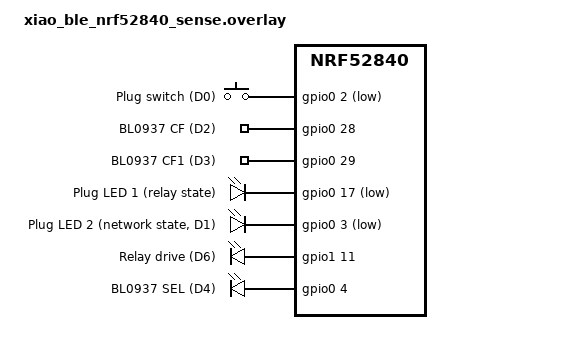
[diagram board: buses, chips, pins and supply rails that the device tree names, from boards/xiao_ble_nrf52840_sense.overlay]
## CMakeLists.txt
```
#
# Matter smart plug for the Seeed XIAO nRF52840 Sense.
# Retrofit into a BL0937 mains plug; see docs/README.md.
#

cmake_minimum_required(VERSION 3.20.0)

find_package(Zephyr HINTS $ENV{ZEPHYR_BASE})

project(uascent_matter_plug)

# Enable GNU STD support.
include(${ZEPHYR_CONNECTEDHOMEIP_MODULE_DIR}/config/nrfconnect/app/enable-gnu-std.cmake)

# NORDIC SDK APP START

# Include all source files that are located in the Matter common directory.
include(${ZEPHYR_NRF_MODULE_DIR}/samples/matter/common/cmake/source_common.cmake)

# Include Data Model utils
include(${ZEPHYR_NRF_MODULE_DIR}/samples/matter/common/cmake/data_model.cmake)

include(${ZEPHYR_NRF_MODULE_DIR}/samples/matter/common/cmake/zap_helpers.cmake)
ncs_get_zap_parent_dir(ZAP_PARENT_DIR)

target_include_directories(app PRIVATE
  src
  ${ZAP_PARENT_DIR}
)

target_compile_options(app PRIVATE -Wno-deprecated-declarations)

target_sources(app PRIVATE
  src/app_task.cpp
  src/bl0937.cpp
  src/main.cpp
  src/power_measurement.cpp
  src/relay.cpp
  src/status_led.cpp
  src/zcl_callbacks.cpp
)

ncs_configure_data_model()
# NORDIC SDK APP END
```

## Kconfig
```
#
# Copyright (c) 2022 Nordic Semiconductor
#
# SPDX-License-Identifier: LicenseRef-Nordic-5-Clause
#
mainmenu "Matter nRF Connect Light Switch Example Application"

config STATE_LEDS
	bool "Use LEDs to indicate the device state"
	default y
	help
	  Use LEDs to render the current state of the device such as the progress of commissioning of
	  the device into a network or the factory reset initiation. Note that setting this option to
	  'n' does not disable the LED indicating the state of the simulated bolt.

config APP_OVERPOWER_PROTECTION
	bool "Open the relay on sustained over-power"
	default y
	help
	  Opens the relay when measured active power stays above
	  APP_OVERPOWER_THRESHOLD_MW for several consecutive samples. The stock
	  Uascent firmware did the same (see docs/original-firmware.md); it is the
	  one protective behaviour that has to be local, since waiting for a
	  controller to notice an overload is the wrong architecture.

	  The trip is only as trustworthy as the BL0937 calibration behind it, so
	  confirm readings against a reference meter before relying on this.

config APP_OVERPOWER_THRESHOLD_MW
	int "Over-power trip threshold (mW)"
	depends on APP_OVERPOWER_PROTECTION
	default 2400000
	help
	  Active power above which the relay opens, in milliwatts.

	  SET THIS TO MATCH YOUR PLUG. The default of 2400 W suits a 10 A/230 V
	  plug; a 16 A plug wants roughly 3700 W, and leaving it at 2400 W there
	  would trip on a legitimate 3 kW load. The donor board carries no legible
	  current rating, so take the figure from the plug housing.

	  A trip needs APP_OVERPOWER_SAMPLES consecutive breaches, so brief
	  inrush cannot reach it and the threshold can sit close to the rating.

config APP_OVERPOWER_SAMPLES
	int "Consecutive over-threshold samples before tripping"
	depends on APP_OVERPOWER_PROTECTION
	default 5
	help
	  Samples are taken once per second. The stock firmware required more
	  than four, i.e. five, which is long enough that motor and power-supply
	  inrush cannot nuisance-trip while still reacting quickly to a real
	  fault.

# Sample configuration used for Thread networking
if OPENTHREAD

choice OPENTHREAD_NORDIC_LIBRARY_CONFIGURATION
	default OPENTHREAD_NORDIC_LIBRARY_MTD
endchoice

choice OPENTHREAD_DEVICE_TYPE
	default OPENTHREAD_MTD
endchoice

config CHIP_ENABLE_ICD_SUPPORT
	default y

# Reduce Thread TX output power to 0 dBm for SED device
config OPENTHREAD_DEFAULT_TX_POWER
	default 0

endif # OPENTHREAD

if SHIELD_NRF7002EB2

config CHIP_WIFI
	default y

config NRF_WIFI_LOW_POWER
	default y

endif # SHIELD_NRF7002EB2

# Enable Read Client functionality for all build configurations.
config CHIP_ENABLE_READ_CLIENT
	default y

source "$(ZEPHYR_CONNECTEDHOMEIP_MODULE_DIR)/config/nrfconnect/chip-module/Kconfig.features"
source "$(ZEPHYR_CONNECTEDHOMEIP_MODULE_DIR)/config/nrfconnect/chip-module/Kconfig.defaults"
source "$(ZEPHYR_NRF_MODULE_DIR)/samples/matter/common/src/Kconfig"
source "Kconfig.zephyr"
```

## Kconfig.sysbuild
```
#
# Copyright (c) 2023 Nordic Semiconductor ASA
#
# SPDX-License-Identifier: LicenseRef-Nordic-5-Clause
#

#### Radio core selection
config NRF_DEFAULT_IPC_RADIO
	default y

# Enable IEEE802.15.4 serialization to network core
# This config automatically pulls in the `overlay-802154.conf` in the ipc_radio image
config NETCORE_IPC_RADIO_IEEE802154
	default y if SOC_SERIES_NRF53 && !WIFI_NRF70

# Enable Bluetooth serialization to network core
# This config automatically pulls in the `overlay-bt_hci_ipc.conf` in the ipc_radio image
config NETCORE_IPC_RADIO_BT_HCI_IPC
	default y if SOC_SERIES_NRF53

#### Bootloader
# The XIAO ships the Adafruit UF2 bootloader, whose flash map defines no
# slot0_partition, so MCUboot cannot be built for this board.
choice BOOTLOADER
	default BOOTLOADER_NONE if BOARD_XIAO_BLE
	default BOOTLOADER_MCUBOOT if !BOARD_NRF21540DK
endchoice

if BOOTLOADER_MCUBOOT

#### DFU multi-image support
config DFU_MULTI_IMAGE_PACKAGE_BUILD
	default y

config DFU_MULTI_IMAGE_PACKAGE_APP
	default y

config PM_EXTERNAL_FLASH_MCUBOOT_SECONDARY
	default y

#### DFU network core configuration
if SOC_SERIES_NRF53

choice MCUBOOT_MODE
	default MCUBOOT_MODE_OVERWRITE_ONLY
endchoice

choice BOOT_SIGNATURE_TYPE
	default BOOT_SIGNATURE_TYPE_RSA
endchoice

config SECURE_BOOT_NETCORE
	default y

config NETCORE_APP_UPDATE
	default y

config DFU_MULTI_IMAGE_PACKAGE_NET
	default y

endif # SOC_SERIES_NRF53

if BOARD_NRF54L15DK || BOARD_NRF54LM20DK

# Disable checking the external drivers for nRF54L15 and nRF54LM20 DKs.
config PM_OVERRIDE_EXTERNAL_DRIVER_CHECK
	default y

endif # BOARD_NRF54L15DK || BOARD_NRF54LM20DK

endif # BOOTLOADER_MCUBOOT

#### Enable generating factory data
# No factory data partition in the XIAO UF2 flash map; the onboarding
# credentials come from Kconfig instead (see prj.conf).
config MATTER_FACTORY_DATA_GENERATE
	default n if BOARD_XIAO_BLE
	default y if !BOARD_NRF21540DK

source "share/sysbuild/Kconfig"
```

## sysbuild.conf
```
SB_CONFIG_MATTER=y

# Sysbuild force-writes CONFIG_CHIP_OTA_REQUESTOR into the application config
# (nrf/sysbuild/CMakeLists.txt), and that write lands after prj.conf and the
# application Kconfig, so it can only be turned off from here. The OTA
# requestor needs the MCUboot slot0_partition this board's UF2 flash map does
# not define.
SB_CONFIG_MATTER_OTA=n
SB_CONFIG_PARTITION_MANAGER=n

# The XIAO ships the Adafruit UF2 bootloader and its flash map has no MCUboot
# slot0_partition, so MCUboot cannot be built for this board.
SB_CONFIG_BOOTLOADER_NONE=y
```

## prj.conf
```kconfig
# ---------------------------------------------------------------------------
# Matter smart plug for the XIAO nRF52840 Sense, retrofitted into a BL0937
# mains plug in place of its original BK7231N module. See docs/README.md.
#
# Started from the NCS samples/matter/light_switch sample, so the deltas from
# that sample are the board constraints (no MCUboot, no factory data), the
# fixed onboarding credentials below, and the plug data model.
# ---------------------------------------------------------------------------

# Enable CHIP
CONFIG_CHIP=y
CONFIG_CHIP_PROJECT_CONFIG="src/chip_project_config.h"
CONFIG_CHIP_DEVICE_PRODUCT_NAME="XIAO Smart Plug"

# Configure ZAP file name
CONFIG_NCS_SAMPLE_MATTER_ZAP_FILE_PATH="${APPLICATION_CONFIG_DIR}/src/default_zap/smart_plug.zap"

# 32772 == 0x8004 (example light-switch-app)
CONFIG_CHIP_DEVICE_PRODUCT_ID=32772
CONFIG_STD_CPP17=y

# Enable Matter pairing automatically on application start.
CONFIG_CHIP_ENABLE_PAIRING_AUTOSTART=y

# Enable Matter extended announcement and increase duration to 1 hour.
CONFIG_CHIP_BLE_EXT_ADVERTISING=y
CONFIG_CHIP_BLE_ADVERTISING_DURATION=60

# --- Fixed onboarding credentials -------------------------------------------
# Per-hardware-variant: passcode/discriminator and BT device name live in
# boards/xiao_ble.conf (and boards/xiao_ble_<variant>.conf for other variants)
# instead of here, since those are the two things that must differ between
# otherwise-identical boards so two units aren't ambiguous during
# commissioning. See boards/xiao_ble.conf for the values and rationale, and
# CLAUDE.md / docs/smart-plug-plan.md for how to add another variant.

# LEDs and buttons: the XIAO has an RGB LED and no on-board user button, so
# the DK library drives the devicetree nodes from boards/*.overlay.
CONFIG_DK_LIBRARY=y
CONFIG_GPIO=y

# Suspend devices when the CPU goes into sleep
CONFIG_PM_DEVICE=y

# Other settings
CONFIG_THREAD_NAME=y
CONFIG_MPU_STACK_GUARD=y
CONFIG_RESET_ON_FATAL_ERROR=n
# The light_switch sample enables the Matter shell, but that assumes a UART
# separate from the log backend. This board has a single USB CDC-ACM console,
# so the shell prompt races the log output and corrupts both. Left off.
CONFIG_CHIP_LIB_SHELL=n
CONFIG_NCS_SAMPLE_MATTER_TEST_SHELL=n

# Reduce application size
CONFIG_USE_SEGGER_RTT=n

# --- Console ---------------------------------------------------------------
# The board devicetree already routes the console to USB CDC-ACM using the
# usb_device_next stack, so no USB Kconfig belongs here. Enabling the legacy
# USB_DEVICE_STACK on top of it yields duplicate cdc_acm symbols at link time.
CONFIG_LOG=y
CONFIG_CONSOLE=y
CONFIG_SERIAL=y
CONFIG_UART_LINE_CTRL=y
CONFIG_USB_DEVICE_INITIALIZE_AT_BOOT=n
# LOG_MODE_MINIMAL (the default here) drops messages instead of buffering
# them, which truncated the onboarding-code block during the boot burst.
CONFIG_LOG_MODE_DEFERRED=y
CONFIG_LOG_PROCESS_THREAD_STACK_SIZE=2048
# The UART backend writes with uart_poll_out(), which busy-waits when the
# CDC-ACM endpoint is full and no host is draining it. Logging before the host
# has the port open therefore stalls the log thread mid-message rather than
# just queueing, and LOG_BLOCK_IN_THREAD_TIMEOUT_MS then drops everything
# behind it -- which is what ate the onboarding-code block. Hold output back
# until enumeration is done, and size the buffer to hold the whole Matter boot
# burst (~70 ms of dense output) plus meter traffic until then.
CONFIG_LOG_PROCESS_THREAD_STARTUP_DELAY_MS=4000
CONFIG_LOG_BUFFER_SIZE=16384
# Block the emitting thread instead of dropping messages if the buffer ever
# does fill, so the log stays complete rather than losing the oldest lines.
# The default 1 s give-up turns a slow console into silent data loss. Raise it
# so a stalled console delays the log rather than truncating it, but keep it
# finite: uart_poll_out() busy-waits on a console nobody is draining, and
# forever-blocking (-1) would hang boot on a plug running headless on mains.
CONFIG_LOG_BLOCK_IN_THREAD=y
CONFIG_LOG_BLOCK_IN_THREAD_TIMEOUT_MS=10000
# The UART backend defaults to a 1-byte buffer, so it hands the console a
# character at a time. Once the log buffer above let the whole boot burst
# through at once, that outpaced the CDC-ACM endpoint and lines were spliced
# into each other mid-character. Buffer whole messages instead.
CONFIG_LOG_BACKEND_UART_BUFFER_SIZE=256

# --- Board constraints -----------------------------------------------------
# No factory data partition in the UF2 flash map. CHIP_FACTORY_DATA is reached
# through a choice, so it is disabled by selecting the NONE branch rather than
# by assigning it =n.
CONFIG_CHIP_FACTORY_DATA_NONE=y

# No MCUboot: the Adafruit UF2 bootloader owns the flash map and defines no
# slot0_partition, so the DFU/image-manager stack cannot be built.
#
# CHIP_BOOTLOADER is a choice whose MCUBOOT branch hard-"select"s IMG_MANAGER,
# and a select cannot be overridden by assigning =n, so the NONE branch is
# picked instead -- the same pattern as CHIP_FACTORY_DATA_NONE above.
# CHIP_OTA_REQUESTOR itself is not set here: sysbuild force-writes it after
# this file is merged, so it is disabled via SB_CONFIG_MATTER_OTA=n in
# sysbuild.conf instead.
CONFIG_CHIP_BOOTLOADER_NONE=y

# Nothing selects these once the MCUboot branch is deselected, so they can be
# switched off directly. This keeps flash_img.c (which resolves
# slot0_partition at compile time) out of the build.
CONFIG_IMG_MANAGER=n
CONFIG_MCUBOOT_IMG_MANAGER=n
CONFIG_DFU_TARGET=n
CONFIG_DFU_MULTI_IMAGE=n
CONFIG_STREAM_FLASH=n

# NFC onboarding is not wired up on this board.
CONFIG_CHIP_NFC_ONBOARDING_PAYLOAD=n

# Keep the image inside the 0xC5000 app partition.
CONFIG_LTO=y
CONFIG_ISR_TABLES_LOCAL_DECLARATION=y
```

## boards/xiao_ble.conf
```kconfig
# Board Kconfig fragment for the default unit. Zephyr merges
# boards/<BOARD>.conf on top of prj.conf automatically; with
# -DFILE_SUFFIX=<variant>, boards/<BOARD>_<variant>.conf is used instead (see
# boards/xiao_ble_v2.conf for a second unit, and CLAUDE.md for how to add
# another one).
#
# This file holds exactly the settings that must differ between two
# otherwise-identical units built from the same source: the onboarding
# credentials and the BLE device name. GPIO wiring is NOT part of this split
# -- every unit is hand-soldered, so boards/xiao_ble.overlay's pin assignment
# is shared by all of them regardless of which physical pads a given plug's
# own PCB happens to route each signal to. Everything else common to all
# units stays in prj.conf.

# --- Fixed onboarding credentials ------------------------------------------
# Compiled into the image so the pairing code is fixed and known in advance
# rather than being read off the serial console. Factory data is disabled on
# this board, so these Kconfig values are what the stack actually uses.
#   passcode 20202021 + discriminator 0xF00 (manual pairing code 3497-011-2332)
# These are the Matter test defaults; change both for anything non-throwaway.
# The firmware prints the authoritative pairing code and QR payload at boot.
CONFIG_CHIP_DEVICE_DISCRIMINATOR=0xF00
CONFIG_CHIP_DEVICE_SPAKE2_PASSCODE=20202021

# Bluetooth Low Energy configuration
CONFIG_BT_DEVICE_NAME="XIAOPlug"
```

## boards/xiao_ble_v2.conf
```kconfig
# Board Kconfig fragment for a second physical unit ("v2"): same xiao_ble
# target, same GPIO wiring (boards/xiao_ble.overlay -- the retrofit is
# hand-soldered per unit, so the physical wires just land on whatever XIAO
# pins that overlay already assigns; see CLAUDE.md, "Hardware variants"), but
# a different pairing code so this unit can't be confused with a
# default-variant one during commissioning. Build with:
#
#   west build -b xiao_ble -- -DFILE_SUFFIX=v2
#
# See boards/xiao_ble.conf for what this replaces and why this is the only
# thing that differs per variant.

# --- Fixed onboarding credentials ------------------------------------------
# Same passcode as the default variant but a different discriminator, which
# is the standard Matter SDK convention for distinguishing otherwise-
# identical test devices during commissioning (the discriminator alone
# selects which device responds). Change both for anything non-throwaway.
# The firmware prints the authoritative pairing code and QR payload at boot.
CONFIG_CHIP_DEVICE_DISCRIMINATOR=0xF01
CONFIG_CHIP_DEVICE_SPAKE2_PASSCODE=20202021

# Bluetooth Low Energy configuration
CONFIG_BT_DEVICE_NAME="XIAOPlugV2"
```

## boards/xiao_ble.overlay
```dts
/*
 * Board wiring for the BL0937 mains-plug retrofit. See docs/smart-plug-plan.md
 * for the full design.
 *
 * The plug's 11-pad header was traced by continuity probing
 * (docs/original-pcb-trace.md) and then cross-checked against the
 * disassembled stock firmware (docs/original-firmware.md), which is treated
 * as authoritative where the two disagree. Note either source fixes which
 * *header pad* carries each signal, not which XIAO pin it lands on: the XIAO
 * is wired to that header by hand, so the pin choices below are ours to make,
 * and are chosen for XIAO-side capability (ADC availability, edge-connector
 * access).
 *
 * Board target: xiao_ble (plain, no IMU/microphone) -- confirmed by physical
 * inspection, no LSM6DSL/microphone package on the board. The plain and
 * Sense variants share the same D0-D10 connector pinout
 * (seeed_xiao_connector.dtsi is common to both); Sense only adds the IMU/mic
 * devicetree nodes and enables I2C0 for them, which is why no
 * IMU-disable node is needed here.
 *
 * Pad budget, derived from docs/pinout.md (Seeed's XIAO nRF52840 reference)
 * and cross-checked against
 * zephyr/boards/seeed/xiao_ble/seeed_xiao_connector.dtsi:
 *
 *   XIAO pin      Header pad        Signal
 *   ------------  ----------------  ---------------------------------------
 *   D0 / P0.02    H5  (RX1)         plug tactile switch (short = toggle
 *                                   relay, long = factory reset; handled by
 *                                   the Matter common board layer's function
 *                                   button, see
 *                                   samples/matter/common/src/board/board.cpp)
 *   D1 / P0.03    H4  (P7)          plug LED 2 (network/commissioning state)
 *   D2 / P0.28    H9  (P24)         BL0937 CF  (active-power pulse),
 *                                   ADC-capable pad kept in reserve in case
 *                                   pulse counting needs an analog fallback
 *   D3 / P0.29    H11 (P26)         BL0937 CF1 (V/I pulse, muxed by SEL),
 *                                   same ADC reasoning
 *   D4 / P0.04    H6  (P8)          BL0937 SEL (V/I select output)
 *   D5 / P0.05    H2  (P6)          relay drive
 *
 * Power: the plug's H1 (3.3V) and H3 (GND) tie to the XIAO's 3.3V-OUT and
 * GND pads. H7 (TX1) is a no-connect on the host board. H8 (ADC) and H10
 * (CEN) are both unused: probing could not reach them, and the stock
 * firmware never drives them.
 *
 * Only ONE plug LED is software-driven. The board carries two, but the stock
 * firmware only ever drives H4 (P7) as an LED -- its second LED output is
 * module pin P9, which the UAM023 does not bring out to the header at all.
 * The reconciliation is that the LED probing found on H2 sits on the relay
 * drive net itself, so it follows the relay in hardware and needs no GPIO of
 * its own. That is also why probing read H2 as "LED 1" while the firmware
 * drives it as the relay: both are on that net. Driving H2 therefore gets
 * relay-state indication for free.
 *
 * So LED 2 (D1) mirrors network/commissioning state and is the only plug LED
 * this firmware writes. Its polarity is assumed active-low, matching the
 * on-board RGB LED (xiao_ble_common.dtsi); confirm independently.
 *
 * All six signals sit on the edge connector, so every joint is solderable
 * and inspectable. An earlier revision put LED 1 on P0.17 (the module's
 * internal CHARGE_LED pin) to save a connector pad; with only seven signals
 * against eleven pads there is no pad pressure, so that underside solder
 * joint was not worth its cost. D6-D10 remain free as spares.
 *
 * All GPIO producer/consumer nodes below reuse Zephyr's "gpio-leds" /
 * "gpio-keys" bindings even where the node is not literally an LED or a key
 * (SEL is an output that is neither; CF/CF1 are pulse inputs, not buttons).
 * That is deliberate, not cosmetic: only a node with a *binding* gets its
 * "gpios" property expanded by the devicetree generator into the .port/.pin
 * fields GPIO_DT_SPEC_GET() needs -- a bare node with no "compatible" does
 * not, and fails to build. gpio-leds/gpio-keys are simply the two bindings
 * Zephyr ships whose child schema is "one gpios property, nothing else",
 * which is all any of these signals needs; no LED or button driver actually
 * attaches to bl0937_sel/cf/cf1 or relay_drive, they're read/driven with
 * plain GPIO calls the same way src/status_led.cpp and src/relay.cpp already
 * do for led0-led4.
 */

/ {
	buttons {
		compatible = "gpio-keys";

		button0: button_0 {
			gpios = <&gpio0 2 (GPIO_PULL_UP | GPIO_ACTIVE_LOW)>;
			label = "Plug switch (D0 <- H5)";
		};
	};

	bl0937_pulses: bl0937_pulses {
		compatible = "gpio-keys";

		bl0937_cf: bl0937_cf {
			gpios = <&gpio0 28 GPIO_ACTIVE_HIGH>;
			label = "BL0937 CF (D2)";
		};

		bl0937_cf1: bl0937_cf1 {
			gpios = <&gpio0 29 GPIO_ACTIVE_HIGH>;
			label = "BL0937 CF1 (D3)";
		};
	};

	aliases {
		sw0 = &button0;
		led4 = &plug_led_network;
	};

	leds {
		compatible = "gpio-leds";

		plug_led_network: plug_led_network {
			gpios = <&gpio0 3 GPIO_ACTIVE_LOW>;
			label = "Plug LED 2 (network state, D1)";
		};

		relay_drive: relay_drive {
			gpios = <&gpio0 5 GPIO_ACTIVE_HIGH>;
			label = "Relay drive (D5 -> H2/P6)";
		};

		bl0937_sel: bl0937_sel {
			gpios = <&gpio0 4 GPIO_ACTIVE_HIGH>;
			label = "BL0937 SEL (D4)";
		};
	};
};
```

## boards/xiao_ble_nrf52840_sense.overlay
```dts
/*
 * Board wiring for the BL0937 mains-plug retrofit. See docs/smart-plug-plan.md
 * for the full design; pin choices here are PROVISIONAL until the plug's PCB
 * is traced (docs/plug-pinout.md) -- only this file should need to change
 * once that trace confirms or corrects the assignment.
 *
 * Pad budget, derived from docs/pinout.md (Seeed's XIAO nRF52840 Sense
 * reference) and cross-checked against
 * zephyr/boards/seeed/xiao_ble/seeed_xiao_connector.dtsi:
 *
 *   D0 / P0.02  - plug tactile switch (short = toggle relay, long = factory
 *                 reset; handled by the Matter common board layer's function
 *                 button, see samples/matter/common/src/board/board.cpp)
 *   D1 / P0.03  - plug LED 2 (network/commissioning state indicator)
 *   D2 / P0.28  - BL0937 CF  (active-power pulse), ADC-capable pad kept in
 *                 reserve in case pulse counting needs an analog fallback
 *   D3 / P0.29  - BL0937 CF1 (V/I pulse, muxed by SEL), same ADC reasoning
 *   D4 / P0.04  - BL0937 SEL (V/I select output)
 *   D6 / P1.11  - relay drive (digital-only pad; the relay needs no ADC)
 *   P0.17       - plug LED 1 (relay state indicator). This pin is wired on
 *                 the XIAO module as CHARGE_LED but is NOT declared in the
 *                 board devicetree and NOT on the edge connector -- it
 *                 drives the module's own (unpopulated-in-this-design)
 *                 battery charge LED and is otherwise idle on a mains plug
 *                 with no battery. Reusing it here frees a connector pad.
 *
 * The plug has two LEDs, not one -- see docs/original-pcb-trace.md. LED 1
 * (P0.17) mirrors relay state; LED 2 (D1) mirrors network/commissioning
 * state. Splitting the two facts across separate LEDs avoids a precedence
 * conflict on a single shared LED. See "Indication design" in
 * docs/smart-plug-plan.md.
 *
 * Both LEDs' polarity is assumed active-low, matching the on-board RGB LED
 * (xiao_ble_common.dtsi); confirm independently during tracing -- they may
 * not share polarity.
 *
 * D5/D7-D10 are deliberately left unused as spares (D4/D5 are the I2C
 * pair, D6/D7 the UART pair -- avoided for a possible future sensor).
 *
 * All GPIO producer/consumer nodes below reuse Zephyr's "gpio-leds" /
 * "gpio-keys" bindings even where the node is not literally an LED or a key
 * (SEL is an output that is neither; CF/CF1 are pulse inputs, not buttons).
 * That is deliberate, not cosmetic: only a node with a *binding* gets its
 * "gpios" property expanded by the devicetree generator into the .port/.pin
 * fields GPIO_DT_SPEC_GET() needs -- a bare node with no "compatible" does
 * not, and fails to build. gpio-leds/gpio-keys are simply the two bindings
 * Zephyr ships whose child schema is "one gpios property, nothing else",
 * which is all any of these signals needs; no LED or button driver actually
 * attaches to bl0937_sel/cf/cf1 or relay_drive, they're read/driven with
 * plain GPIO calls the same way src/status_led.cpp and src/relay.cpp already
 * do for led0-led4.
 */

/* The Sense variant's on-board LSM6DSL IMU is wired on I2C0, which this
 * design doesn't use (see the D4/D5 note above) and nothing in the app
 * touches the sensor subsystem. Disabling it drops "LSM6DSL: Failed to
 * initialize chip" from every boot log and pulls CONFIG_SENSOR/LSM6DSL back
 * out of the build. */
&lsm6ds3tr_c {
	status = "disabled";
};

/ {
	buttons {
		compatible = "gpio-keys";

		button0: button_0 {
			gpios = <&gpio0 2 (GPIO_PULL_UP | GPIO_ACTIVE_LOW)>;
			label = "Plug switch (D0)";
		};
	};

	bl0937_pulses: bl0937_pulses {
		compatible = "gpio-keys";

		bl0937_cf: bl0937_cf {
			gpios = <&gpio0 28 GPIO_ACTIVE_HIGH>;
			label = "BL0937 CF (D2)";
		};

		bl0937_cf1: bl0937_cf1 {
			gpios = <&gpio0 29 GPIO_ACTIVE_HIGH>;
			label = "BL0937 CF1 (D3)";
		};
	};

	aliases {
		sw0 = &button0;
		led3 = &plug_led_relay;
		led4 = &plug_led_network;
	};

	leds {
		compatible = "gpio-leds";

		plug_led_relay: plug_led_relay {
			gpios = <&gpio0 17 GPIO_ACTIVE_LOW>;
			label = "Plug LED 1 (relay state)";
		};

		plug_led_network: plug_led_network {
			gpios = <&gpio0 3 GPIO_ACTIVE_LOW>;
			label = "Plug LED 2 (network state, D1)";
		};

		relay_drive: relay_drive {
			gpios = <&gpio1 11 GPIO_ACTIVE_HIGH>;
			label = "Relay drive (D6)";
		};

		bl0937_sel: bl0937_sel {
			gpios = <&gpio0 4 GPIO_ACTIVE_HIGH>;
			label = "BL0937 SEL (D4)";
		};
	};
};
```

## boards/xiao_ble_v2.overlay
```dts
/*
 * Board wiring for hardware variant "v2" -- same xiao_ble target and BL0937
 * retrofit as boards/xiao_ble.overlay, but for a plug whose header traces to
 * different XIAO pins. See boards/xiao_ble.overlay for the full rationale
 * behind using gpio-leds/gpio-keys bindings for non-LED/non-button signals,
 * the pad budget, and the power/no-connect notes -- none of that is repeated
 * here.
 *
 * TODO: this is a scaffold, not a verified pinout. It currently duplicates
 * the default variant's pin assignments pin-for-pin. Before using it on real
 * v2 hardware:
 *   1. Trace the v2 plug's header the same way docs/original-pcb-trace.md
 *      describes for the original, and update every `gpios = <&gpio0 N ...>`
 *      below to the pins actually wired on that board.
 *   2. Update the pin-mapping table in this comment block and in README.md /
 *      docs/smart-plug-plan.md once the real pins are known.
 *   3. Confirm LED and button polarity (GPIO_ACTIVE_LOW / GPIO_ACTIVE_HIGH)
 *      against the v2 hardware; don't assume it matches the default variant.
 *
 * Build with: west build -b xiao_ble -- -DFILE_SUFFIX=v2
 */

/ {
	buttons {
		compatible = "gpio-keys";

		button0: button_0 {
			/* TODO: confirm/replace pin for v2 hardware. */
			gpios = <&gpio0 2 (GPIO_PULL_UP | GPIO_ACTIVE_LOW)>;
			label = "Plug switch (D0 <- H5)";
		};
	};

	bl0937_pulses: bl0937_pulses {
		compatible = "gpio-keys";

		bl0937_cf: bl0937_cf {
			/* TODO: confirm/replace pin for v2 hardware. */
			gpios = <&gpio0 28 GPIO_ACTIVE_HIGH>;
			label = "BL0937 CF (D2)";
		};

		bl0937_cf1: bl0937_cf1 {
			/* TODO: confirm/replace pin for v2 hardware. */
			gpios = <&gpio0 29 GPIO_ACTIVE_HIGH>;
			label = "BL0937 CF1 (D3)";
		};
	};

	aliases {
		sw0 = &button0;
		led4 = &plug_led_network;
	};

	leds {
		compatible = "gpio-leds";

		plug_led_network: plug_led_network {
			/* TODO: confirm/replace pin for v2 hardware. */
			gpios = <&gpio0 3 GPIO_ACTIVE_LOW>;
			label = "Plug LED 2 (network state, D1)";
		};

		relay_drive: relay_drive {
			/* TODO: confirm/replace pin for v2 hardware. */
			gpios = <&gpio0 5 GPIO_ACTIVE_HIGH>;
			label = "Relay drive (D5 -> H2/P6)";
		};

		bl0937_sel: bl0937_sel {
			/* TODO: confirm/replace pin for v2 hardware. */
			gpios = <&gpio0 4 GPIO_ACTIVE_HIGH>;
			label = "BL0937 SEL (D4)";
		};
	};
};
```

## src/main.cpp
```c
/*
 * Blink test for the Seeed XIAO nRF52840 Sense on nRF Connect SDK / Zephyr.
 *
 * Cycles the status indications so all three can be checked by eye:
 *   blue blinking = pairing, green = paired, red = error.
 */

#include "status_led.h"

#include <zephyr/kernel.h>
#include <zephyr/logging/log.h>

LOG_MODULE_REGISTER(app, LOG_LEVEL_INF);

int main(void)
{
	LOG_INF("XIAO nRF52840 Sense blink test starting");

	if (StatusLedInit()) {
		LOG_ERR("Status LED init failed");
		return 0;
	}

	const StatusLedState cycle[] = {
		StatusLedState::Pairing,
		StatusLedState::Paired,
		StatusLedState::Error,
	};

	while (true) {
		for (StatusLedState state : cycle) {
			StatusLedSet(state);
			k_sleep(K_SECONDS(3));
		}
	}

	return 0;
}
```

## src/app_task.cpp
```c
/*
 * Copyright (c) 2022 Nordic Semiconductor ASA
 *
 * SPDX-License-Identifier: LicenseRef-Nordic-5-Clause
 */

#include "app_task.h"

#include "bl0937.h"
#include "power_measurement.h"
#include "relay.h"
#include "status_led.h"

#include "app/matter_init.h"
#include "app/task_executor.h"
#include "board/board.h"
#include "clusters/identify.h"

#include <app-common/zap-generated/attributes/Accessors.h>
#include <lib/support/TypeTraits.h>
#include <setup_payload/OnboardingCodesUtil.h>

#include <zephyr/kernel.h>
#include <zephyr/logging/log.h>

LOG_MODULE_DECLARE(app, CONFIG_CHIP_APP_LOG_LEVEL);

using namespace ::chip;
using namespace ::chip::app;
using namespace ::chip::DeviceLayer;

namespace
{
constexpr EndpointId kPlugEndpointId = 1;
constexpr uint32_t kMeterPollIntervalMs = 1000;

Nrf::Matter::IdentifyCluster sIdentifyCluster(kPlugEndpointId);

/* The plug has a single tactile switch, wired to the board layer's function
 * button (DK_BTN1). Long press is consumed by Nrf::Board's FunctionHandler
 * for factory reset; the short press is ours to handle. */
#define APPLICATION_BUTTON_MASK DK_BTN1_MSK

#ifdef CONFIG_CHIP_ICD_UAT_SUPPORT
#define UAT_BUTTON_MASK DK_BTN3_MSK
#endif

k_timer sMeterPollTimer;

void MeterPollTimerCallback(k_timer *)
{
	Nrf::PostTask([] { MeterPoll(); });
}
} /* namespace */

/* Feeds the network axis of the LED indication; see src/status_led.h for the
 * full truth table and the relay axis. Registered via Board::Init(), which
 * calls it once at startup and again on every device state change. */
void AppTask::UpdateStatusLed()
{
	switch (Nrf::GetBoard().GetDeviceState()) {
	case Nrf::DeviceState::DeviceProvisioned:
		StatusLedSetNetworkState(NetworkLedState::Paired);
		break;
	case Nrf::DeviceState::DeviceAdvertisingBLE:
	case Nrf::DeviceState::DeviceConnectedBLE:
		StatusLedSetNetworkState(NetworkLedState::Pairing);
		break;
	case Nrf::DeviceState::DeviceDisconnected:
	default:
		StatusLedSetNetworkState(NetworkLedState::Error);
		break;
	}
}

void AppTask::ButtonEventHandler(Nrf::ButtonState state, Nrf::ButtonMask hasChanged)
{
	if (APPLICATION_BUTTON_MASK & hasChanged & ~state) {
		/* Released. Toggle the relay directly (this runs on the app
		 * task, not the Matter thread) and report the new state
		 * through the cluster so subscribers see it -- UpdateClusterState()
		 * marshals the attribute write onto the Matter thread. A long
		 * press never reaches this point -- Nrf::Board's FunctionHandler
		 * consumes it for factory reset first. */
		LOG_INF("Plug button released (short press)");
		RelaySet(!RelayIsOn());
		StatusLedSetRelayState(RelayIsOn());
		Instance().UpdateClusterState();
#ifdef CONFIG_CHIP_ICD_UAT_SUPPORT
	} else if ((UAT_BUTTON_MASK & state & hasChanged)) {
		LOG_INF("ICD UserActiveMode has been triggered.");
		Server::GetInstance().GetICDManager().OnNetworkActivity();
#endif
	}
}

/* Reports the relay's actuator state through the OnOff cluster. Called after
 * a button press changes the relay directly; MatterPostAttributeChangeCallback
 * (src/zcl_callbacks.cpp) is the reverse direction, for controller-initiated
 * writes. Attribute writes must run on the Matter thread, which is why this
 * marshals through SystemLayer() rather than writing from the button's own
 * task context. */
void AppTask::UpdateClusterState()
{
	SystemLayer().ScheduleLambda([] {
		const Protocols::InteractionModel::Status status =
			Clusters::OnOff::Attributes::OnOff::Set(kPlugEndpointId, RelayIsOn());
		if (status != Protocols::InteractionModel::Status::Success) {
			LOG_ERR("Updating OnOff cluster failed: %x", to_underlying(status));
		}
	});
}

CHIP_ERROR AppTask::Init()
{
	/* Initialize Matter stack */
	ReturnErrorOnFailure(Nrf::Matter::PrepareServer(Nrf::Matter::InitData{ .mPostServerInitClbk = [] {
		/* Endpoint config is only valid once the data model has loaded,
		 * which is why this waits for the post-server-init hook rather
		 * than running alongside RelayInit()/StatusLedInit() below.
		 * OnOff -> RelaySet() bridging is src/zcl_callbacks.cpp. */
		return PowerMeasurementInit(kPlugEndpointId);
	} }));

	const int ledErr = StatusLedInit();
	if (ledErr) {
		LOG_ERR("Status LED init failed (%d)", ledErr);
		return CHIP_ERROR_INCORRECT_STATE;
	}

	/* Before the Matter stack starts, so the load is guaranteed off until
	 * something explicitly switches it on. */
	const int relayErr = RelayInit();
	if (relayErr) {
		LOG_ERR("Relay init failed (%d)", relayErr);
		return CHIP_ERROR_INCORRECT_STATE;
	}

	if (!Nrf::GetBoard().Init(ButtonEventHandler, UpdateStatusLed)) {
		LOG_ERR("User interface initialization failed.");
		return CHIP_ERROR_INCORRECT_STATE;
	}

	/* Register Matter event handler that controls the connectivity status LED based on the captured Matter network
	 * state. */
	ReturnErrorOnFailure(Nrf::Matter::RegisterEventHandler(Nrf::Board::DefaultMatterEventHandler, 0));

	ReturnErrorOnFailure(sIdentifyCluster.Init());

	const CHIP_ERROR startErr = Nrf::Matter::StartServer();
	ReturnErrorOnFailure(startErr);

	MeterInit();
	k_timer_init(&sMeterPollTimer, MeterPollTimerCallback, nullptr);
	k_timer_start(&sMeterPollTimer, K_MSEC(kMeterPollIntervalMs), K_MSEC(kMeterPollIntervalMs));

	return CHIP_NO_ERROR;
}

CHIP_ERROR AppTask::StartApp()
{
	ReturnErrorOnFailure(Init());

	while (true) {
		Nrf::DispatchNextTask();
	}

	return CHIP_NO_ERROR;
}
```

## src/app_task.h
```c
/*
 * Copyright (c) 2022 Nordic Semiconductor ASA
 *
 * SPDX-License-Identifier: LicenseRef-Nordic-5-Clause
 */

#pragma once

#include "board/board.h"

#include <platform/CHIPDeviceLayer.h>

struct Identify;

class AppTask {
public:
	static AppTask &Instance()
	{
		static AppTask sAppTask;
		return sAppTask;
	};

	CHIP_ERROR StartApp();

	void UpdateClusterState();

private:
	CHIP_ERROR Init();

	static void UpdateStatusLed();

	static void ButtonEventHandler(Nrf::ButtonState state, Nrf::ButtonMask hasChanged);
};
```

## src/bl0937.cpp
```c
/*
 * See bl0937.h and docs/smart-plug-plan.md's Phase 3 section for the design.
 *
 * Measurement strategy: CF and CF1 are pulse-frequency outputs (active power
 * and V/I respectively, the latter muxed by SEL). Pulses are counted via GPIO
 * edge interrupts and turned into a frequency once per second rather than
 * timing individual periods -- far more robust at low power, where pulses can
 * be seconds apart.
 *
 * The sampling scheme here is a deliberate reimplementation of what the stock
 * Uascent firmware did, recovered by disassembly -- see
 * docs/original-firmware.md ("Metering pipeline") for the addresses and
 * evidence behind each constant. Matching it matters because the calibration
 * divisors below were lifted from that firmware's own NV store, and they only
 * mean what they say when fed the same way: a 1 Hz sample rate, a median of
 * three, and a 3 s SEL dwell.
 */

#include "bl0937.h"

#include "power_measurement.h"
#ifdef CONFIG_APP_OVERPOWER_PROTECTION
#include "app_task.h"
#include "relay.h"
#endif

#include <zephyr/drivers/gpio.h>
#include <zephyr/kernel.h>
#include <zephyr/logging/log.h>
#include <zephyr/sys/atomic.h>

LOG_MODULE_DECLARE(app, LOG_LEVEL_INF);

namespace
{

/* Plain GPIO producer/consumer nodes, no driver binding -- see the overlay's
 * comment on why gpio-keys/gpio-leds bindings are reused for signals that are
 * neither. GPIO_ACTIVE_HIGH is encoded in devicetree, so logical values are
 * used throughout here. */
const gpio_dt_spec sCf = GPIO_DT_SPEC_GET(DT_NODELABEL(bl0937_cf), gpios);
const gpio_dt_spec sCf1 = GPIO_DT_SPEC_GET(DT_NODELABEL(bl0937_cf1), gpios);
const gpio_dt_spec sSel = GPIO_DT_SPEC_GET(DT_NODELABEL(bl0937_sel), gpios);

gpio_callback sCfCallback;
gpio_callback sCf1Callback;

/* Incremented from GPIO ISR context, read/reset from MeterPoll() on the app
 * task -- atomic rather than a lock, since the only operations needed are
 * "add one" and "swap out for zero". */
atomic_t sCfPulses;
atomic_t sCf1Pulses;

/* Calibration constants, recovered from the stock firmware's own flash
 * key-value store -- this exact unit's factory values, not generic ballpark
 * numbers. The plaintext KV region at 0x1F8000 holds a "bl0937" key whose
 * 12-byte payload is three little-endian floats.
 *
 * The disassembly also settles which float is which: the stock metering tick
 * divides CF by the third and CF1 by the first or second depending on SEL
 * (docs/original-firmware.md, "Scaling"). So these are divisors -- "counts
 * per second per unit" -- and the V/I assignment is proven, not inferred.
 *
 * Stored scaled by 1000 as integers because the arithmetic here is int64
 * fixed-point; the *1000 that converts W to mW cancels against that scaling,
 * hence the *1'000'000 in one step at each use site. */
constexpr int64_t kMilliCountsPerSecPerWatt = 775;   /* 0.7752066 */
constexpr int64_t kMilliCountsPerSecPerVolt = 8077;  /* 8.0772724 */
constexpr int64_t kMilliCountsPerSecPerAmp = 91636;  /* 91.6363602 */

/* Samples per filter window. The stock firmware collects three, sorts them and
 * takes the middle one. That median is also what makes a separate SEL settling
 * window unnecessary: the one sample straddling a SEL flip is a transient
 * outlier, and a median of three discards outliers by construction. Changing
 * this to an even number would mean averaging two middle samples and would
 * reintroduce the settling error. */
constexpr size_t kFilterDepth = 3;

/* SEL holds for one full filter window -- 3 s at the 1 Hz poll rate, matching
 * the stock firmware's 3000 ms dwell. Since the two quantities take turns,
 * each of V and I refreshes every 6 s; active power, which is not muxed,
 * refreshes every 3 s. */
bool sSelIsVoltage = true;

int64_t sLastActivePowerMw;
int64_t sLastRmsVoltageMv;
int64_t sLastRmsCurrentMa;
int64_t sLastPollMs;

/* Median-of-three over a channel's counts-per-second samples. Push() returns
 * true exactly once per kFilterDepth calls, when a window completes. */
class MedianFilter {
public:
	bool Push(uint32_t sample, uint32_t *median)
	{
		mSamples[mCount++] = sample;
		if (mCount < kFilterDepth) {
			return false;
		}
		mCount = 0;

		/* Sorting network for three elements -- the stock firmware
		 * bubble-sorts and indexes the middle; same result, no loop. */
		uint32_t a = mSamples[0], b = mSamples[1], c = mSamples[2];
		if (a > b) {
			const uint32_t t = a; a = b; b = t;
		}
		if (b > c) {
			const uint32_t t = b; b = c; c = t;
		}
		if (a > b) {
			const uint32_t t = a; a = b; b = t;
		}
		*median = b;
		return true;
	}

private:
	uint32_t mSamples[kFilterDepth];
	size_t mCount;
};

MedianFilter sCfFilter;
MedianFilter sCf1Filter;

#ifdef CONFIG_APP_OVERPOWER_PROTECTION
/* Consecutive samples seen above the trip threshold. Reset by any sample at or
 * below it, so only a *sustained* overload counts. */
uint32_t sOverPowerSamples;

/* Checked against the raw per-second sample rather than the median, matching
 * where the stock firmware placed it: the median deliberately lags by three
 * seconds, and protection should not.
 *
 * There is no latch. A trip opens the relay and nothing more, so turning the
 * plug back on is allowed and simply re-arms the check -- a persistent
 * overload trips again after APP_OVERPOWER_SAMPLES seconds. That matches the
 * stock firmware, and avoids a latch's own failure mode of leaving the plug
 * stuck off with no obvious way to clear it. The cost is that a controller
 * automation which blindly re-enables the plug could cycle the relay; a latch
 * would be the answer if that ever shows up in practice. */
void CheckOverPower(int64_t instantPowerMw)
{
	if (instantPowerMw <= CONFIG_APP_OVERPOWER_THRESHOLD_MW) {
		sOverPowerSamples = 0;
		return;
	}

	if (++sOverPowerSamples < CONFIG_APP_OVERPOWER_SAMPLES) {
		return;
	}

	sOverPowerSamples = 0;

	if (!RelayIsOn()) {
		return;
	}

	LOG_ERR("Over-power: %lld mW above %d mW for %d s -- opening relay",
		instantPowerMw, CONFIG_APP_OVERPOWER_THRESHOLD_MW, CONFIG_APP_OVERPOWER_SAMPLES);

	/* Same three steps the button path takes, so the relay, the plug LED and
	 * the OnOff attribute cannot disagree about what happened.
	 * UpdateClusterState() marshals the attribute write onto the Matter
	 * thread; this runs on the app task. */
	RelaySet(false);
	AppTask::Instance().UpdateClusterState();
}
#endif /* CONFIG_APP_OVERPOWER_PROTECTION */

void CfIsr(const device *, gpio_callback *, uint32_t)
{
	atomic_inc(&sCfPulses);
}

void Cf1Isr(const device *, gpio_callback *, uint32_t)
{
	atomic_inc(&sCf1Pulses);
}

/* Swaps the given pulse counter out for zero and returns what it held,
 * atomically -- so a pulse arriving between the read and the reset is never
 * lost, unlike a plain read-then-clear. */
uint32_t TakePulses(atomic_t *counter)
{
	return static_cast<uint32_t>(atomic_set(counter, 0));
}

/* Normalise a window's raw pulse count to counts per second. The stock
 * firmware assumes its 1 s tick is exactly 1 s and uses the raw count; doing
 * the division against the measured window makes the reading immune to timer
 * jitter and is identical whenever the timer is on time. */
uint32_t CountsPerSec(uint32_t pulses, int64_t windowMs)
{
	return static_cast<uint32_t>((static_cast<int64_t>(pulses) * 1000) / windowMs);
}

} /* namespace */

void MeterInit(void)
{
	LOG_INF("BL0937 driver active");

	for (const gpio_dt_spec *spec : { &sCf, &sCf1, &sSel }) {
		if (!gpio_is_ready_dt(spec)) {
			LOG_ERR("BL0937 GPIO port %s not ready", spec->port ? spec->port->name : "<null>");
			return;
		}
	}

	gpio_pin_configure_dt(&sCf, GPIO_INPUT);
	gpio_pin_configure_dt(&sCf1, GPIO_INPUT);

	/* SEL HIGH selects voltage, LOW selects current. This is the opposite
	 * of the HLW8012 the BL0937 is otherwise pin-compatible with, and the
	 * stock firmware is unambiguous about it: its metering tick sends
	 * SEL == 0 to the current divisor and SEL != 0 to the voltage divisor,
	 * and its .data image boots SEL to 1. See docs/original-firmware.md,
	 * "SEL multiplexing -- polarity".
	 *
	 * GPIO_OUTPUT_ACTIVE honours devicetree polarity, so this starts in the
	 * voltage phase regardless of the overlay's active-level choice,
	 * matching sSelIsVoltage above. */
	gpio_pin_configure_dt(&sSel, GPIO_OUTPUT_ACTIVE);

	gpio_init_callback(&sCfCallback, CfIsr, BIT(sCf.pin));
	gpio_add_callback(sCf.port, &sCfCallback);
	gpio_pin_interrupt_configure_dt(&sCf, GPIO_INT_EDGE_TO_ACTIVE);

	gpio_init_callback(&sCf1Callback, Cf1Isr, BIT(sCf1.pin));
	gpio_add_callback(sCf1.port, &sCf1Callback);
	gpio_pin_interrupt_configure_dt(&sCf1, GPIO_INT_EDGE_TO_ACTIVE);
}

void MeterPoll(void)
{
	const int64_t nowMs = k_uptime_get();
	const int64_t windowMs = sLastPollMs ? (nowMs - sLastPollMs) : 0;
	sLastPollMs = nowMs;

	const uint32_t cfPulses = TakePulses(&sCfPulses);
	const uint32_t cf1Pulses = TakePulses(&sCf1Pulses);

	/* First call has no elapsed window to normalise against; it only starts
	 * the clock. Discard its counts rather than feeding a bogus rate into
	 * the filters. */
	if (windowMs <= 0) {
		return;
	}

	uint32_t median;
	const uint32_t cfCountsPerSec = CountsPerSec(cfPulses, windowMs);

#ifdef CONFIG_APP_OVERPOWER_PROTECTION
	CheckOverPower((static_cast<int64_t>(cfCountsPerSec) * 1'000'000) / kMilliCountsPerSecPerWatt);
#endif

	/* Active power is measured continuously -- CF is not muxed. */
	if (sCfFilter.Push(cfCountsPerSec, &median)) {
		sLastActivePowerMw = (static_cast<int64_t>(median) * 1'000'000) / kMilliCountsPerSecPerWatt;
	}

	/* SEL is flipped only here, when a CF1 window completes, so the level
	 * was constant across all kFilterDepth samples that produced this
	 * median and sSelIsVoltage still names it. */
	if (sCf1Filter.Push(CountsPerSec(cf1Pulses, windowMs), &median)) {
		if (sSelIsVoltage) {
			sLastRmsVoltageMv = (static_cast<int64_t>(median) * 1'000'000) / kMilliCountsPerSecPerVolt;
		} else {
			sLastRmsCurrentMa = (static_cast<int64_t>(median) * 1'000'000) / kMilliCountsPerSecPerAmp;
		}

		sSelIsVoltage = !sSelIsVoltage;
		gpio_pin_set_dt(&sSel, sSelIsVoltage ? 1 : 0);
	}

	PowerMeasurementUpdate(sLastActivePowerMw, sLastRmsVoltageMv, sLastRmsCurrentMa);
}
```

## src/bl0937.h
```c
/*
 * BL0937 energy-metering chip driver.
 *
 * No Zephyr in-tree driver exists for this part, so this is written from
 * scratch against the chip's pulse-frequency output: CF's frequency is
 * proportional to active power, CF1's frequency is proportional to RMS
 * voltage or RMS current depending on SEL. See docs/smart-plug-plan.md's
 * Phase 3 section for the design this follows.
 *
 */

#pragma once

void MeterInit(void);

/* Called once per second (kMeterPollIntervalMs in app_task.cpp) to turn the
 * pulses counted since the last call into a reading and push it into the
 * Matter clusters via PowerMeasurementUpdate().
 *
 * The rate is part of the calibration, not a free parameter: readings are a
 * median of three consecutive samples, so active power refreshes every 3 s,
 * and SEL holds for one such window so V and I take turns and each refreshes
 * every 6 s -- the cadence the stock firmware used to derive the calibration
 * divisors. See docs/original-firmware.md. */
void MeterPoll(void);
```

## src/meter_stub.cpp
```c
#include "meter_stub.h"

#include "power_measurement.h"
#include "relay.h"

#include <zephyr/kernel.h>
#include <zephyr/logging/log.h>

LOG_MODULE_DECLARE(app, LOG_LEVEL_INF);

namespace
{

/* Mains-ish constants, chosen to look plausible on a controller UI, not to
 * model any real load. */
constexpr int64_t kNominalVoltageMv = 230'000;
constexpr int64_t kMinPowerMw = 5'000;
constexpr int64_t kMaxPowerMw = 60'000;
constexpr int64_t kPowerStepMw = 2'500;

int64_t sPowerMw = kMinPowerMw;

} /* namespace */

void MeterInit(void)
{
	LOG_INF("Meter stub active: synthetic readings, no BL0937 present");
}

void MeterPoll(void)
{
	if (!RelayIsOn()) {
		/* Mirrors the real driver's documented zero-power timeout
		 * behaviour (Phase 3): no load, no pulses, report a clean 0 W
		 * rather than holding a stale nonzero value. */
		PowerMeasurementUpdate(0, kNominalVoltageMv, 0);
		return;
	}

	sPowerMw += kPowerStepMw;
	if (sPowerMw > kMaxPowerMw) {
		sPowerMw = kMinPowerMw;
	}

	/* P = V * I, so I = P / V in consistent units (mW / mV -> A, *1000 for mA). */
	const int64_t currentMa = (sPowerMw * 1000) / kNominalVoltageMv;

	PowerMeasurementUpdate(sPowerMw, kNominalVoltageMv, currentMa);
}
```

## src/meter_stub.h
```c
/*
 * Synthetic power/energy source, standing in for the BL0937 driver (Phase 3,
 * not written yet).
 *
 * Two jobs:
 *  - Step C of the plan's fit check: link both measurement clusters against
 *    real data flow (attribute storage, TLV encoding, reporting) without any
 *    hardware, to prove the firmware fits before the PCB is traced.
 *  - Ongoing: a build option to test the Matter side without mains, since the
 *    real driver can only be validated with the plug on mains (see
 *    docs/smart-plug-plan.md).
 *
 * Selected by CONFIG_APP_METER_STUB; the real driver will present the same
 * MeterInit()/MeterPoll() shape so main.cpp does not change when it lands.
 */

#pragma once

#include <cstdint>

struct MeterReading {
	int64_t activePowerMw;
	int64_t rmsVoltageMv;
	int64_t rmsCurrentMa;
};

void MeterInit(void);

/* Called periodically (see kMeterPollInterval in meter_stub.cpp) to produce
 * the next synthetic reading and push it into the Matter clusters. */
void MeterPoll(void);
```

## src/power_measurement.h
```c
/*
 * ElectricalPowerMeasurement (0x0090) and ElectricalEnergyMeasurement
 * (0x0091) server wiring for endpoint 1.
 *
 * Both clusters use an AttributeAccessInterface this app constructs and
 * registers itself: EPM's is the Delegate/Instance pattern, EEM's is
 * ElectricalEnergyMeasurementAttrAccess plus free functions
 * (SetMeasurementAccuracy()/NotifyCumulativeEnergyMeasured()) that reach it
 * through a singleton keyed by endpoint. Neither self-registers -- the SDK's
 * reference app (modules/lib/matter/examples/energy-management-app/
 * energy-management-common/common/src/EnergyManagementAppCommonMain.cpp)
 * constructs and Init()s the EEM AAI the same way PowerMeasurementInit()
 * does here. Skipping that step compiles and boots fine; it just leaves EEM
 * reads falling through to the SDK's weak emberAfExternalAttributeReadCallback
 * stub, which returns Status::Failure for every attribute the cluster claims
 * to serve externally.
 */

#pragma once

#include <lib/core/CHIPError.h>
#include <lib/core/DataModelTypes.h>

#include <cstdint>

CHIP_ERROR PowerMeasurementInit(chip::EndpointId endpoint);

/* Pushes one reading into both clusters: EPM's attributes through the
 * delegate, dirty-marked only when they move past a deadband (see
 * ReportIfMoved() in the .cpp); and EEM's cumulative energy by integrating
 * activePowerMw over the elapsed time since the previous call, also
 * dirty-marked on every call that reports. First call after init only primes
 * the integrator; it reports zero elapsed energy.
 *
 * The cumulative energy total is also periodically written to the KVS (see
 * PersistCumulativeEnergyIfDue() in the .cpp) so it survives a reboot; this
 * function's caller does not need to do anything for that to happen. */
void PowerMeasurementUpdate(int64_t activePowerMw, int64_t rmsVoltageMv, int64_t rmsCurrentMa);
```
